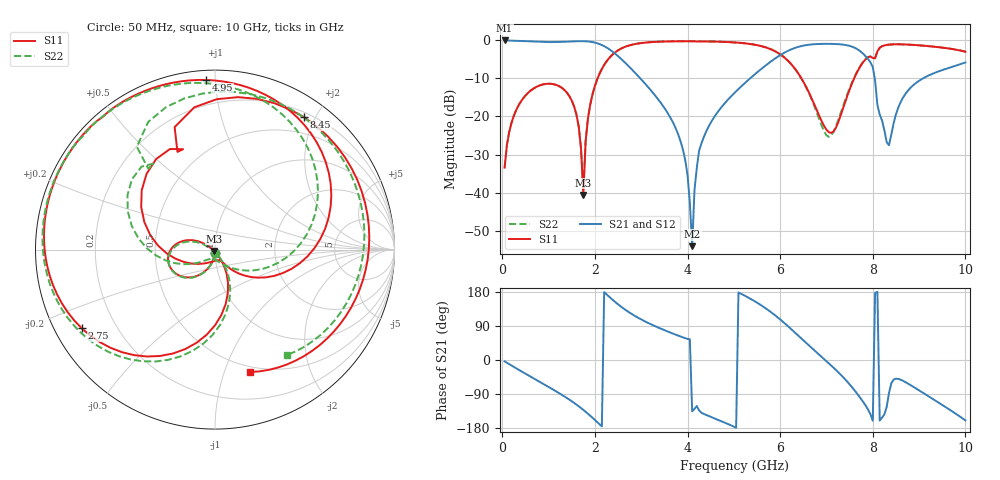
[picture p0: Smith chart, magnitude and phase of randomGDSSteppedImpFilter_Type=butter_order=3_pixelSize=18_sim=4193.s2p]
! freq	dB(S11)	phase(S11)	dB(S12)	phase(S12)
!  dB(S21)	phase(S21)	dB(S22)	phase(S22)
!S-par simulation data
#  GHz  S  DB  R 50
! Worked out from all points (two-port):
!   200 points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, 50 MHz to 10 GHz, reference 50 ohm
!   highest |S21| = -0.01 dB at 50 MHz (marker M1); lowest = -54.1 dB at 4.1 GHz (marker M2)
!   |S21| within 3 dB of the highest: start of sweep to 2.387 GHz; 6.124 GHz to 7.746 GHz (1.622 GHz wide, 23.4 % of centre)
!   lowest |S11| = -40.6 dB at 1.75 GHz (marker M3), VSWR 1.02, Z = 49.6 - j0.828 ohm
!   |S11| at or under -10 dB: start of sweep to 2.057 GHz; 6.46 GHz to 7.598 GHz (1.137 GHz wide, 16.2 % of centre)
!   |S22| runs from -39.3 to -0.2 dB; largest |S21 - S12| = 0
!   S11 on the Smith chart (normalised r, x): 50 MHz: 1.00, -0.04; 2.75 GHz: 0.08, -0.27; 4.95 GHz: 0.05, +0.95; 8.45 GHz: 0.26, +1.85; 10 GHz: 0.45, -1.23
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0.05  -33.45 -93.4  -0.01 -3.7  -0.01 -3.7  -33.45 -93.3
0.4  -16.09 -119.8  -0.15 -29.1  -0.15 -29.1  -16.09 -119.0
1.15  -11.64 -172.9  -0.42 -81.8  -0.42 -81.8  -11.64 -170.7
1.6  -19.43 153.9  -0.22 -117.6  -0.22 -117.6  -19.44 157.5
1.75  -40.60 -116.5  -0.20 -131.7  -0.20 -131.7  -39.28 -114.6
2  -11.96 -73.5  -0.57 -158.2  -0.57 -158.2  -11.94 -70.3
2.75  -1.29 -149.5  -7.04 124.9  -7.04 124.9  -1.28 -144.3
3.4  -0.33 169.2  -16.04 83.8  -16.04 83.8  -0.32 175.9
3.9  -0.22 144.5  -28.67 59.7  -28.67 59.7  -0.21 152.5
4.1  -0.22 135.1  -54.10 -135.4  -54.10 -135.4  -0.22 143.6
4.25  -0.26 128.3  -29.00 -133.1  -29.00 -133.1  -0.25 137.3
4.95  -0.48 92.9  -14.57 -173.1  -14.57 -173.1  -0.47 104.0
5.05  -0.56 87.3  -13.35 -178.8  -13.35 -178.8  -0.55 98.7
5.95  -3.26 20.4  -4.26 112.1  -4.26 112.1  -3.25 34.0
6.7  -15.77 -48.2  -1.03 29.7  -1.03 29.7  -16.12 -43.7
7.05  -24.12 -72.4  -0.90 -8.7  -0.90 -8.7  -25.36 -101.5
7.55  -11.36 -175.6  -1.63 -71.4  -1.63 -71.4  -11.05 -167.5
7.95  -4.24 114.1  -5.75 -143.1  -5.75 -143.1  -4.19 131.5
8.35  -1.11 67.8  -27.55 -87.4  -27.55 -87.4  -1.11 88.3
8.45  -1.02 56.0  -21.79 -51.7  -21.79 -51.7  -1.03 76.9
9.2  -1.50 -11.4  -9.25 -95.4  -9.25 -95.4  -1.49 9.8
10  -2.98 -74.0  -5.80 -159.3  -5.80 -159.3  -2.96 -55.9
